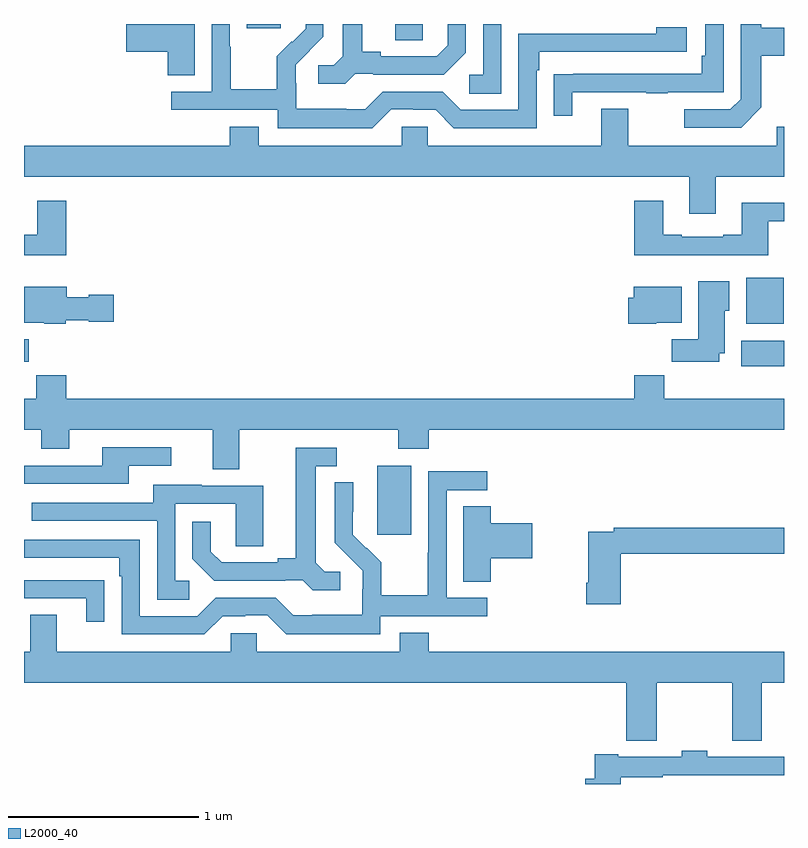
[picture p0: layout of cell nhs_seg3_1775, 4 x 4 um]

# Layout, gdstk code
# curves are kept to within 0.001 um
import gdstk
lib = gdstk.Library(unit=1e-6, precision=1e-09)
def R(c, l, rs):  # rectangles x0, y0, x1, y1
    for r in rs: c.add(gdstk.rectangle(r[:2], r[2:], *l))
def P(c, l, *ps):  # polygons
    for p in ps: c.add(gdstk.Polygon(p, *l))
L2000_40 = (2000, 40)

nhs_seg3_1775 = lib.new_cell('nhs_seg3_1775')
R(nhs_seg3_1775, L2000_40, [(204.86,685.713,205.039,686.074), (206.774,686.6,207,686.734), (203,686.622,203.024,686.74), (206.801,686.822,206.998,687.064), (204.953,688.315,205.098,688.4), (204.173,688.377,204.352,688.4)])
P(nhs_seg3_1775, L2000_40, [(204.744,688.137),(204.838,688.137),(204.838,688.134),(205.21,688.134),(205.326,688.25),(205.326,688.4),(205.229,688.4),(205.229,688.287),(205.172,688.23),(204.877,688.23),(204.877,688.253),(204.781,688.253),(204.781,688.4),(204.677,688.4),(204.677,688.229),(204.63,688.182),(204.549,688.182),(204.549,688.085),(204.692,688.085)],
  [(204.933,687.951),(205.049,687.951),(205.049,687.948),(205.167,687.948),(205.263,687.852),(205.698,687.852),(205.698,688.157),(205.711,688.157),(205.711,688.254),(206.488,688.254),(206.488,688.384),(206.327,688.384),(206.327,688.35),(205.602,688.35),(205.602,687.948),(205.299,687.948),(205.203,688.044),(204.888,688.044),(204.795,687.951),(204.695,687.951),(204.695,687.955),(204.432,687.955),(204.432,688.089),(204.43,688.089),(204.43,688.186),(204.576,688.334),(204.576,688.4),(204.482,688.4),(204.482,688.376),(204.411,688.305),(204.408,688.308),(204.331,688.231),(204.331,688.057),(204.087,688.057),(204.087,688.28),(204.084,688.28),(204.084,688.4),(203.988,688.4),(203.988,688.044),(203.775,688.044),(203.775,687.948),(204.336,687.948),(204.336,687.851),(204.833,687.851)],
  [(205.512,688.4),(205.416,688.4),(205.416,688.134),(205.344,688.134),(205.344,688.033),(205.512,688.033)],
  [(205.885,688.041),(206.275,688.041),(206.275,688.036),(206.387,688.036),(206.387,688.041),(206.682,688.041),(206.682,688.4),(206.586,688.4),(206.586,688.234),(206.566,688.234),(206.566,688.137),(205.891,688.137),(205.891,688.136),(205.789,688.136),(205.789,687.918),(205.885,687.918)],
  [(206.881,687.961),(206.881,688.234),(207,688.234),(207,688.381),(206.881,688.381),(206.881,688.4),(206.772,688.4),(206.772,688.005),(206.718,687.951),(206.475,687.951),(206.475,687.855),(206.775,687.855)],
  [(203.899,688.4),(203.538,688.4),(203.538,688.253),(203.756,688.253),(203.756,688.129),(203.899,688.129)],
  [(206.641,687.596),(207,687.596),(207,687.859),(206.963,687.859),(206.963,687.76),(206.179,687.76),(206.179,687.955),(206.039,687.955),(206.039,687.76),(205.125,687.76),(205.125,687.858),(204.987,687.858),(204.987,687.76),(204.235,687.76),(204.235,687.859),(204.083,687.859),(204.083,687.76),(203,687.76),(203,687.596),(206.501,687.596),(206.501,687.402),(206.641,687.402)],
  [(203.222,687.469),(203.069,687.469),(203.069,687.292),(203,687.292),(203,687.182),(203.222,687.182)],
  [(206.917,687.363),(207,687.363),(207,687.46),(206.777,687.46),(206.777,687.292),(206.681,687.292),(206.681,687.279),(206.461,687.279),(206.461,687.292),(206.365,687.292),(206.365,687.469),(206.213,687.469),(206.213,687.182),(206.917,687.182)],
  [(206.659,686.666),(206.689,686.666),(206.689,686.892),(206.713,686.892),(206.713,687.046),(206.549,687.046),(206.549,686.74),(206.41,686.74),(206.41,686.622),(206.659,686.622)],
  [(203.22,686.84),(203.34,686.84),(203.34,686.833),(203.473,686.833),(203.473,686.975),(203.34,686.975),(203.34,686.962),(203.224,686.962),(203.224,687.016),(203,687.016),(203,686.828),(203.106,686.828),(203.106,686.822),(203.22,686.822)],
  [(206.328,686.828),(206.461,686.828),(206.461,687.016),(206.21,687.016),(206.21,686.958),(206.18,686.958),(206.18,686.822),(206.328,686.822)],
  [(204.133,686.264),(204.97,686.264),(204.97,686.165),(205.13,686.165),(205.13,686.264),(207,686.264),(207,686.428),(206.369,686.428),(206.369,686.552),(206.213,686.552),(206.213,686.428),(203.222,686.428),(203.222,686.552),(203.065,686.552),(203.065,686.428),(203,686.428),(203,686.264),(203.092,686.264),(203.092,686.165),(203.239,686.165),(203.239,686.264),(203.993,686.264),(203.993,686.056),(204.133,686.056)],
  [(203.551,686.076),(203.776,686.076),(203.776,686.172),(203.411,686.172),(203.411,686.076),(203,686.076),(203,685.98),(203.551,685.98)],
  [(204.664,685.518),(204.582,685.518),(204.535,685.565),(204.535,686.073),(204.646,686.073),(204.646,686.169),(204.431,686.169),(204.431,685.589),(204.335,685.589),(204.335,685.566),(204.04,685.566),(203.983,685.623),(203.983,685.78),(203.886,685.78),(203.886,685.586),(204.002,685.47),(204.374,685.47),(204.374,685.473),(204.468,685.473),(204.52,685.421),(204.664,685.421)],
  [(204.876,685.284),(205.438,685.284),(205.438,685.38),(205.224,685.38),(205.224,685.947),(205.438,685.947),(205.438,686.046),(205.128,686.046),(205.128,685.616),(205.126,685.616),(205.126,685.393),(204.881,685.393),(204.881,685.567),(204.804,685.644),(204.801,685.641),(204.731,685.712),(204.732,685.988),(204.636,685.988),(204.636,685.67),(204.782,685.522),(204.782,685.425),(204.78,685.425),(204.78,685.291),(204.517,685.291),(204.517,685.287),(204.417,685.287),(204.324,685.38),(204.009,685.38),(203.913,685.284),(203.61,685.284),(203.61,685.686),(203,685.686),(203,685.59),(203.501,685.59),(203.501,685.493),(203.514,685.493),(203.514,685.188),(203.949,685.188),(204.045,685.284),(204.164,685.284),(204.164,685.287),(204.279,685.287),(204.379,685.187),(204.876,685.187)],
  [(203.869,685.47),(203.796,685.47),(203.796,685.875),(204.114,685.875),(204.114,685.651),(204.259,685.651),(204.259,685.971),(203.935,685.971),(203.935,685.975),(203.681,685.975),(203.681,685.881),(203.041,685.881),(203.041,685.785),(203.7,685.785),(203.7,685.369),(203.869,685.369)],
  [(205.457,685.589),(205.675,685.589),(205.675,685.772),(205.457,685.772),(205.457,685.862),(205.313,685.862),(205.313,685.465),(205.457,685.465)],
  [(206.141,685.612),(207,685.612),(207,685.748),(206.104,685.748),(206.104,685.728),(205.97,685.728),(205.97,685.459),(205.958,685.459),(205.958,685.347),(206.141,685.347)],
  [(203.423,685.472),(203.321,685.472),(203.321,685.473),(203,685.473),(203,685.377),(203.327,685.377),(203.327,685.254),(203.423,685.254)],
  [(206.33,684.932),(206.728,684.932),(206.728,684.628),(206.882,684.628),(206.882,684.932),(207,684.932),(207,685.096),(205.13,685.096),(205.13,685.195),(204.977,685.195),(204.977,685.096),(204.225,685.096),(204.225,685.194),(204.087,685.194),(204.087,685.096),(203.173,685.096),(203.173,685.291),(203.033,685.291),(203.033,685.096),(203,685.096),(203,684.932),(206.171,684.932),(206.171,684.628),(206.33,684.628)],
  [(206.141,684.435),(206.363,684.435),(206.363,684.447),(207,684.447),(207,684.543),(206.595,684.543),(206.595,684.576),(206.463,684.576),(206.463,684.543),(206.128,684.543),(206.128,684.556),(206.005,684.556),(206.005,684.427),(205.955,684.427),(205.955,684.4),(206.141,684.4)])

lib.write_gds('nhs_seg3_1775.gds')
